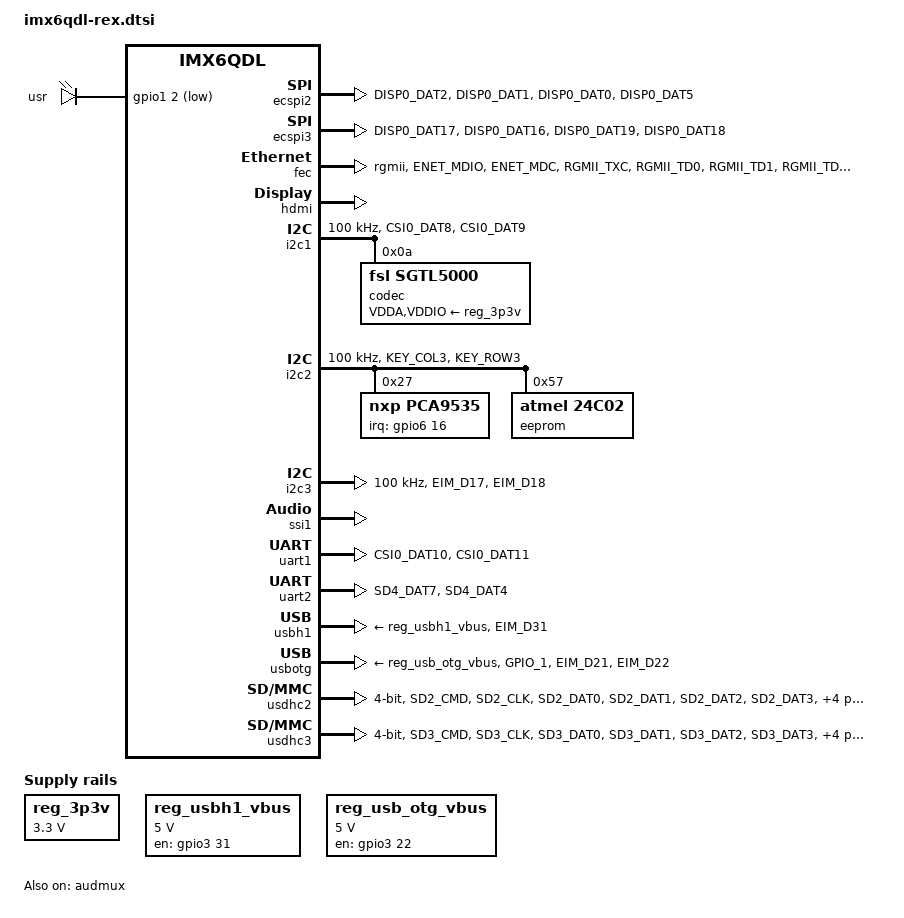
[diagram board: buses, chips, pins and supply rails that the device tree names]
// SPDX-License-Identifier: GPL-2.0-only
/*
 * Copyright 2014 FEDEVEL, Inc.
 *
 * Author: Robert Nelson <robertcnelson@gmail.com>
 */

#include <dt-bindings/gpio/gpio.h>
#include <dt-bindings/input/input.h>

/ {
	chosen {
		stdout-path = &uart1;
	};

	reg_3p3v: regulator-3p3v {
		compatible = "regulator-fixed";
		regulator-name = "3P3V";
		regulator-min-microvolt = <3300000>;
		regulator-max-microvolt = <3300000>;
		regulator-always-on;
	};

	reg_usbh1_vbus: regulator-usbh1-vbus {
		compatible = "regulator-fixed";
		regulator-name = "usbh1_vbus";
		regulator-min-microvolt = <5000000>;
		regulator-max-microvolt = <5000000>;
		gpio = <&gpio3 31 GPIO_ACTIVE_HIGH>;
		enable-active-high;
	};

	reg_usb_otg_vbus: regulator-otg-vbus {
		compatible = "regulator-fixed";
		regulator-name = "usb_otg_vbus";
		regulator-min-microvolt = <5000000>;
		regulator-max-microvolt = <5000000>;
		gpio = <&gpio3 22 GPIO_ACTIVE_HIGH>;
		enable-active-high;
	};

	leds {
		compatible = "gpio-leds";
		pinctrl-names = "default";
		pinctrl-0 = <&pinctrl_led>;

		led0: led-usr {
			label = "usr";
			gpios = <&gpio1 2 GPIO_ACTIVE_LOW>;
			default-state = "off";
			linux,default-trigger = "heartbeat";
		};
	};

	sound {
		compatible = "fsl,imx6-rex-sgtl5000",
			     "fsl,imx-audio-sgtl5000";
		model = "imx6-rex-sgtl5000";
		ssi-controller = <&ssi1>;
		audio-codec = <&codec>;
		audio-routing =
			"MIC_IN", "Mic Jack",
			"Mic Jack", "Mic Bias",
			"Headphone Jack", "HP_OUT";
		mux-int-port = <1>;
		mux-ext-port = <3>;
	};
};

&audmux {
	pinctrl-names = "default";
	pinctrl-0 = <&pinctrl_audmux>;
	status = "okay";
};

&ecspi2 {
	cs-gpios = <&gpio5 12 GPIO_ACTIVE_LOW>;
	pinctrl-names = "default";
	pinctrl-0 = <&pinctrl_ecspi2>;
	status = "okay";
};

&ecspi3 {
	cs-gpios = <&gpio4 26 GPIO_ACTIVE_LOW>;
	pinctrl-names = "default";
	pinctrl-0 = <&pinctrl_ecspi3>;
	status = "okay";
};

&fec {
	pinctrl-names = "default";
	pinctrl-0 = <&pinctrl_enet>;
	phy-mode = "rgmii";
	phy-reset-gpios = <&gpio1 25 GPIO_ACTIVE_LOW>;
	status = "okay";
};

&hdmi {
	ddc-i2c-bus = <&i2c2>;
	status = "okay";
};

&i2c1 {
	clock-frequency = <100000>;
	pinctrl-names = "default";
	pinctrl-0 = <&pinctrl_i2c1>;
	status = "okay";

	codec: sgtl5000@a {
		compatible = "fsl,sgtl5000";
		reg = <0x0a>;
		#sound-dai-cells = <0>;
		clocks = <&clks IMX6QDL_CLK_CKO>;
		VDDA-supply = <&reg_3p3v>;
		VDDIO-supply = <&reg_3p3v>;
	};
};

&i2c2 {
	clock-frequency = <100000>;
	pinctrl-names = "default";
	pinctrl-0 = <&pinctrl_i2c2>;
	status = "okay";

	pca9535: gpio-expander@27 {
		compatible = "nxp,pca9535";
		reg = <0x27>;
		gpio-controller;
		#gpio-cells = <2>;
		pinctrl-names = "default";
		pinctrl-0 = <&pinctrl_pca9535>;
		interrupt-parent = <&gpio6>;
		interrupts = <16 IRQ_TYPE_LEVEL_LOW>;
		interrupt-controller;
		#interrupt-cells = <2>;
	};

	eeprom@57 {
		compatible = "atmel,24c02";
		reg = <0x57>;
	};
};

&i2c3 {
	clock-frequency = <100000>;
	pinctrl-names = "default";
	pinctrl-0 = <&pinctrl_i2c3>;
	status = "okay";
};

&iomuxc {
	pinctrl-names = "default";
	pinctrl-0 = <&pinctrl_hog>;

	pinctrl_hog: hoggrp {
		fsl,pins = <
			/* SGTL5000 sys_mclk */
			MX6QDL_PAD_GPIO_0__CCM_CLKO1		0x030b0
		>;
	};

	pinctrl_audmux: audmuxgrp {
		fsl,pins = <
			MX6QDL_PAD_CSI0_DAT7__AUD3_RXD		0x130b0
			MX6QDL_PAD_CSI0_DAT4__AUD3_TXC		0x130b0
			MX6QDL_PAD_CSI0_DAT5__AUD3_TXD		0x110b0
			MX6QDL_PAD_CSI0_DAT6__AUD3_TXFS		0x130b0
		>;
	};

	pinctrl_ecspi2: ecspi2grp {
		fsl,pins = <
			MX6QDL_PAD_DISP0_DAT2__ECSPI3_MISO	0x100b1
			MX6QDL_PAD_DISP0_DAT1__ECSPI3_MOSI	0x100b1
			MX6QDL_PAD_DISP0_DAT0__ECSPI3_SCLK	0x100b1
			/* CS */
			MX6QDL_PAD_DISP0_DAT5__GPIO4_IO26	0x000b1
		>;
	};

	pinctrl_ecspi3: ecspi3grp {
		fsl,pins = <
			MX6QDL_PAD_DISP0_DAT17__ECSPI2_MISO	0x100b1
			MX6QDL_PAD_DISP0_DAT16__ECSPI2_MOSI	0x100b1
			MX6QDL_PAD_DISP0_DAT19__ECSPI2_SCLK	0x100b1
			/* CS */
			MX6QDL_PAD_DISP0_DAT18__GPIO5_IO12	0x000b1
		>;
	};

	pinctrl_enet: enetgrp {
		fsl,pins = <
			MX6QDL_PAD_ENET_MDIO__ENET_MDIO		0x1b0b0
			MX6QDL_PAD_ENET_MDC__ENET_MDC		0x1b0b0
			MX6QDL_PAD_RGMII_TXC__RGMII_TXC		0x1b030
			MX6QDL_PAD_RGMII_TD0__RGMII_TD0		0x1b030
			MX6QDL_PAD_RGMII_TD1__RGMII_TD1		0x1b030
			MX6QDL_PAD_RGMII_TD2__RGMII_TD2		0x1b030
			MX6QDL_PAD_RGMII_TD3__RGMII_TD3		0x1b030
			MX6QDL_PAD_RGMII_TX_CTL__RGMII_TX_CTL	0x1b030
			MX6QDL_PAD_ENET_REF_CLK__ENET_TX_CLK	0x1b0b0
			MX6QDL_PAD_RGMII_RXC__RGMII_RXC		0x1b030
			MX6QDL_PAD_RGMII_RD0__RGMII_RD0		0x1b030
			MX6QDL_PAD_RGMII_RD1__RGMII_RD1		0x1b030
			MX6QDL_PAD_RGMII_RD2__RGMII_RD2		0x1b030
			MX6QDL_PAD_RGMII_RD3__RGMII_RD3		0x1b030
			MX6QDL_PAD_RGMII_RX_CTL__RGMII_RX_CTL	0x1b030
			MX6QDL_PAD_GPIO_16__ENET_REF_CLK	0x4001b0a8
			/* Phy reset */
			MX6QDL_PAD_ENET_CRS_DV__GPIO1_IO25	0x000b0
		>;
	};

	pinctrl_i2c1: i2c1grp {
		fsl,pins = <
			MX6QDL_PAD_CSI0_DAT8__I2C1_SDA		0x4001b8b1
			MX6QDL_PAD_CSI0_DAT9__I2C1_SCL		0x4001b8b1
		>;
	};

	pinctrl_i2c2: i2c2grp {
		fsl,pins = <
			MX6QDL_PAD_KEY_COL3__I2C2_SCL		0x4001b8b1
			MX6QDL_PAD_KEY_ROW3__I2C2_SDA		0x4001b8b1
		>;
	};

	pinctrl_i2c3: i2c3grp {
		fsl,pins = <
			MX6QDL_PAD_EIM_D17__I2C3_SCL		0x4001b8b1
			MX6QDL_PAD_EIM_D18__I2C3_SDA		0x4001b8b1
		>;
	};

	pinctrl_led: ledgrp {
		fsl,pins = <
			/* user led */
			MX6QDL_PAD_GPIO_2__GPIO1_IO02		0x80000000
		>;
	};

	pinctrl_pca9535: pca9535grp {
		fsl,pins = <
			MX6QDL_PAD_NANDF_CS3__GPIO6_IO16	0x17059
	   >;
	};

	pinctrl_uart1: uart1grp {
		fsl,pins = <
			MX6QDL_PAD_CSI0_DAT10__UART1_TX_DATA	0x1b0b1
			MX6QDL_PAD_CSI0_DAT11__UART1_RX_DATA	0x1b0b1
		>;
	};

	pinctrl_uart2: uart2grp {
		fsl,pins = <
			MX6QDL_PAD_SD4_DAT7__UART2_TX_DATA	0x1b0b1
			MX6QDL_PAD_SD4_DAT4__UART2_RX_DATA	0x1b0b1
		>;
	};

	pinctrl_usbh1: usbh1grp {
		fsl,pins = <
			/* power enable, high active */
			MX6QDL_PAD_EIM_D31__GPIO3_IO31		0x10b0
		>;
	};

	pinctrl_usbotg: usbotggrp {
		fsl,pins = <
			MX6QDL_PAD_GPIO_1__USB_OTG_ID		0x17059
			MX6QDL_PAD_EIM_D21__USB_OTG_OC		0x1b0b0
			/* power enable, high active */
			MX6QDL_PAD_EIM_D22__GPIO3_IO22		0x10b0
		>;
	};

	pinctrl_usdhc2: usdhc2grp {
		fsl,pins = <
			MX6QDL_PAD_SD2_CMD__SD2_CMD		0x17059
			MX6QDL_PAD_SD2_CLK__SD2_CLK		0x10059
			MX6QDL_PAD_SD2_DAT0__SD2_DATA0		0x17059
			MX6QDL_PAD_SD2_DAT1__SD2_DATA1		0x17059
			MX6QDL_PAD_SD2_DAT2__SD2_DATA2		0x17059
			MX6QDL_PAD_SD2_DAT3__SD2_DATA3		0x17059
			/* CD */
			MX6QDL_PAD_NANDF_D2__GPIO2_IO02		0x1b0b0
			/* WP */
			MX6QDL_PAD_NANDF_D3__GPIO2_IO03		0x1f0b0
		>;
	};

	pinctrl_usdhc3: usdhc3grp {
		fsl,pins = <
			MX6QDL_PAD_SD3_CMD__SD3_CMD		0x17059
			MX6QDL_PAD_SD3_CLK__SD3_CLK		0x10059
			MX6QDL_PAD_SD3_DAT0__SD3_DATA0		0x17059
			MX6QDL_PAD_SD3_DAT1__SD3_DATA1		0x17059
			MX6QDL_PAD_SD3_DAT2__SD3_DATA2		0x17059
			MX6QDL_PAD_SD3_DAT3__SD3_DATA3		0x17059
			/* CD */
			MX6QDL_PAD_NANDF_D0__GPIO2_IO00		0x1b0b0
			/* WP */
			MX6QDL_PAD_NANDF_D1__GPIO2_IO01		0x1f0b0
		>;
	};
};

&ssi1 {
	status = "okay";
};

&uart1 {
	pinctrl-names = "default";
	pinctrl-0 = <&pinctrl_uart1>;
	status = "okay";
};

&uart2 {
	pinctrl-names = "default";
	pinctrl-0 = <&pinctrl_uart2>;
	status = "okay";
};

&usbh1 {
	vbus-supply = <&reg_usbh1_vbus>;
	pinctrl-names = "default";
	pinctrl-0 = <&pinctrl_usbh1>;
	status = "okay";
};

&usbotg {
	vbus-supply = <&reg_usb_otg_vbus>;
	pinctrl-names = "default";
	pinctrl-0 = <&pinctrl_usbotg>;
	status = "okay";
};

&usdhc2 {
	pinctrl-names = "default";
	pinctrl-0 = <&pinctrl_usdhc2>;
	bus-width = <4>;
	cd-gpios = <&gpio2 2 GPIO_ACTIVE_LOW>;
	wp-gpios = <&gpio2 3 GPIO_ACTIVE_HIGH>;
	status = "okay";
};

&usdhc3 {
	pinctrl-names = "default";
	pinctrl-0 = <&pinctrl_usdhc3>;
	bus-width = <4>;
	cd-gpios = <&gpio2 0 GPIO_ACTIVE_LOW>;
	wp-gpios = <&gpio2 1 GPIO_ACTIVE_HIGH>;
	status = "okay";
};
